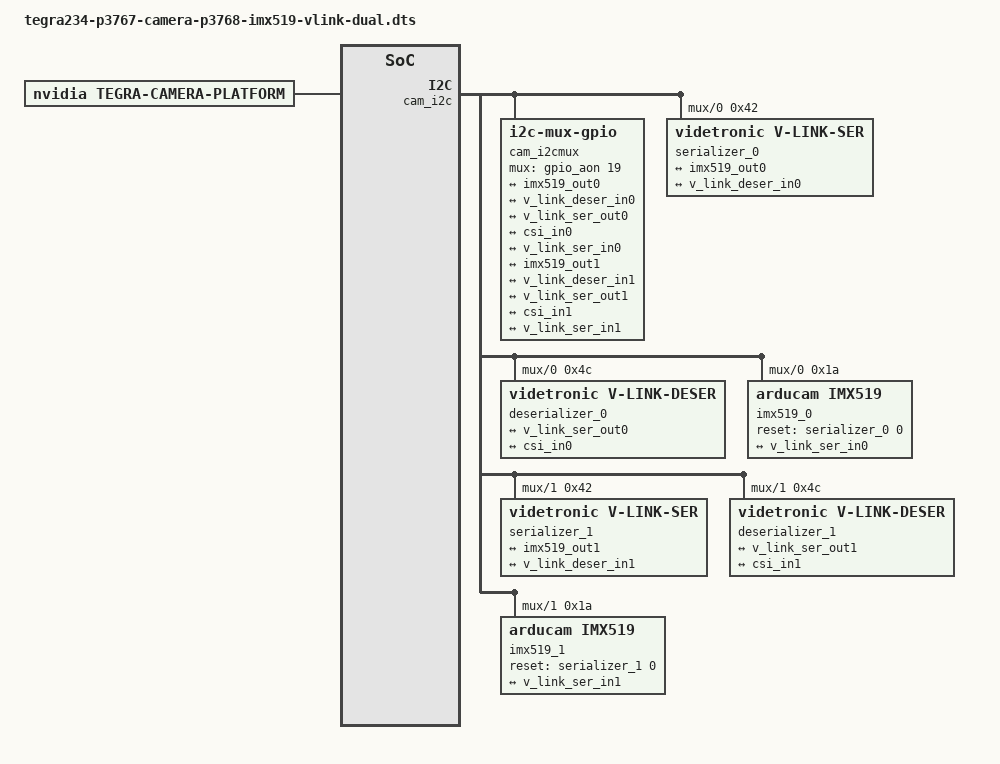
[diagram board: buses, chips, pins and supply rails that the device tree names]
/dts-v1/;
/plugin/;

/ {
	overlay-name = "Camera IMX519 Dual over v-link";
	jetson-header-name = "Jetson 24pin CSI Connector";
	compatible = "nvidia,p3768-0000+p3767-0000\0nvidia,p3768-0000+p3767-0001\0nvidia,p3768-0000+p3767-0003\0nvidia,p3768-0000+p3767-0004\0nvidia,p3768-0000+p3767-0005\0nvidia,p3768-0000+p3767-0000-super\0nvidia,p3768-0000+p3767-0001-super\0nvidia,p3768-0000+p3767-0003-super\0nvidia,p3768-0000+p3767-0004-super\0nvidia,p3768-0000+p3767-0005-super";

	fragment@0 {
		target-path = "/";
		__overlay__ {
			tegra-capture-vi {
				num-channels = <2>;
				ports {
					#address-cells = <1>;
					#size-cells = <0>;
					port@0 {
						reg = <0>;
						vi_in0: endpoint {
							port-index = <1>;
							bus-width = <2>;
							remote-endpoint = <&csi_out0>;
						};
					};
					port@1 {
						reg = <1>;
						vi_in1: endpoint {
							port-index = <2>;
							bus-width = <2>;
							remote-endpoint = <&csi_out1>;
						};
					};
				};
			};
			tegra-camera-platform {
				compatible = "nvidia, tegra-camera-platform";
				num_csi_lanes = <4>;
				max_lane_speed = <1500000>;
				min_bits_per_pixel = <10>;
				vi_peak_byte_per_pixel = <2>;
				vi_bw_margin_pct = <25>;
				max_pixel_rate = <7500000>;
				isp_peak_byte_per_pixel = <5>;
				isp_bw_margin_pct = <25>;

				modules {
					module0 {
						badge = "cam0_imx519";
						position = "rear";
						orientation = "1";

						drivernode0 {
							pcl_id = "v4l2_sensor";
							sysfs-device-tree = "/sys/firmware/devicetree/base/bus@0/cam_i2cmux/i2c@0/imx519_0@1a";
						};
					};
					module1 {
						badge = "cam1_imx519";
						position = "front";
						orientation = "1";

						drivernode0 {
							pcl_id = "v4l2_sensor";
							sysfs-device-tree = "/sys/firmware/devicetree/base/bus@0/cam_i2cmux/i2c@1/imx519_1@1a";
						};
					};
				};
			};
			bus@0 {
				host1x@13e00000 {
					nvcsi@15a00000 {
						num-channels = <2>;
						#address-cells = <1>;
						#size-cells = <0>;
						channel@0 {
							reg = <0>;
							ports {
								#address-cells = <1>;
								#size-cells = <0>;
								port@0 {
									reg = <0>;
									csi_in0: endpoint@0 {
										port-index = <1>;
										bus-width = <2>;
										remote-endpoint = <&v_link_deser_out0>;
									};
								};
								port@1 {
									reg = <1>;
									csi_out0: endpoint@1 {
										remote-endpoint = <&vi_in0>;
									};
								};
							};
						};
						channel@1 {
							reg = <1>;
							ports {
								#address-cells = <1>;
								#size-cells = <0>;
								port@0 {
									reg = <0>;
									csi_in1: endpoint@0 {
										port-index = <2>;
										bus-width = <2>;
										remote-endpoint = <&v_link_deser_out1>;
									};
								};
								port@1 {
									reg = <1>;
									csi_out1: endpoint@1 {
										remote-endpoint = <&vi_in1>;
									};
								};
							};
						};
					};
				};
				cam_i2cmux {
					status = "okay";
					compatible = "i2c-mux-gpio";
					#address-cells = <1>;
					#size-cells = <0>;
					mux-gpios = <&gpio_aon 19 0>;
					i2c-parent = <&cam_i2c>;

					/* CAM0 - CSI Port 1 (serial_b) - HAS lane_polarity */
					i2c@0 {
						status = "okay";
						reg = <0>;
						#address-cells = <1>;
						#size-cells = <0>;

						serializer_0: serializer@42 {
							status = "okay";
							compatible = "videtronic,v-link-ser";
							reg = <0x42>;
							gpio-controller;
							#gpio-cells = <2>;
							bus-width = <2>;

							ports {
								#address-cells = <1>;
								#size-cells = <0>;
								port@0 {
									reg = <0>;
									status = "okay";
									v_link_ser_in0: endpoint@0 {
										status = "okay";
										port-index = <0>;
										bus-width = <2>;
										remote-endpoint = <&imx519_out0>;
									};
								};
								port@1 {
									reg = <1>;
									status = "okay";
									v_link_ser_out0: endpoint@1 {
										status = "okay";
										port-index = <1>;
										remote-endpoint = <&v_link_deser_in0>;
									};
								};
							};
						};

						deserializer_0: deserializer@4c {
							status = "okay";
							compatible = "videtronic,v-link-deser";
							reg = <0x4c>;
							bus-width = <2>;
							link-freq = "800000000";
							ports {
								#address-cells = <1>;
								#size-cells = <0>;
								port@0 {
									reg = <0>;
									status = "okay";
									v_link_deser_in0: endpoint@0 {
										status = "okay";
										port-index = <0>;
										remote-endpoint = <&v_link_ser_out0>;
									};
								};
								port@1 {
									reg = <1>;
									status = "okay";
									v_link_deser_out0: endpoint@1 {
										status = "okay";
										port-index = <1>;
										bus-width = <2>;
										remote-endpoint = <&csi_in0>;
									};
								};
							};
						};

						imx519_0@1a {
							status = "okay";
							compatible = "arducam,imx519";
							reg = <0x1a>;
							devnode = "video0";
							physical_w = "3.680";
							physical_h = "2.760";
							sensor_model = "imx519";
							use_sensor_mode_id = "true";
							reset-gpios = <&serializer_0 0 0>;

							mode0 {
								mclk_khz = "24000";
								num_lanes = "2";
								tegra_sinterface = "serial_b";
								phy_mode = "DPHY";
								discontinuous_clk = "no";
								dpcm_enable = "false";
								cil_settletime = "0";
								lane_polarity = "6";
								active_w = "4656";
								active_h = "3496";
								mode_type = "bayer";
								pixel_phase = "rggb";
								csi_pixel_bit_depth = "10";
								readout_orientation = "90";
								line_length = "12650";
								inherent_gain = "1";
								mclk_multiplier = "80";
								pix_clk_hz = "300000000";
								gain_factor = "16";
								framerate_factor = "1000000";
								exposure_factor = "1000000";
								min_gain_val = "16";
								max_gain_val = "256";
								step_gain_val = "1";
								default_gain = "16";
								min_hdr_ratio = "1";
								max_hdr_ratio = "1";
								min_framerate = "2000000";
								max_framerate = "9000000";
								step_framerate = "1";
								default_framerate = "9000000";
								min_exp_time = "13";
								max_exp_time = "683709";
								step_exp_time = "1";
								default_exp_time = "2495";
								embedded_metadata_height = "2";
							};

							mode1 {
								mclk_khz = "24000";
								num_lanes = "2";
								tegra_sinterface = "serial_b";
								phy_mode = "DPHY";
								discontinuous_clk = "no";
								dpcm_enable = "false";
								cil_settletime = "0";
								lane_polarity = "6";
								active_w = "3840";
								active_h = "2160";
								mode_type = "bayer";
								pixel_phase = "rggb";
								csi_pixel_bit_depth = "10";
								readout_orientation = "90";
								line_length = "10486";
								inherent_gain = "1";
								mclk_multiplier = "80";
								pix_clk_hz = "300000000";
								gain_factor = "16";
								framerate_factor = "1000000";
								exposure_factor = "1000000";
								min_gain_val = "16";
								max_gain_val = "256";
								step_gain_val = "1";
								default_gain = "16";
								min_hdr_ratio = "1";
								max_hdr_ratio = "1";
								min_framerate = "2000000";
								max_framerate = "17000000";
								step_framerate = "1";
								default_framerate = "17000000";
								min_exp_time = "13";
								max_exp_time = "683709";
								step_exp_time = "1";
								default_exp_time = "2495";
								embedded_metadata_height = "2";
							};

							mode2 {
								mclk_khz = "24000";
								num_lanes = "2";
								tegra_sinterface = "serial_b";
								phy_mode = "DPHY";
								discontinuous_clk = "no";
								dpcm_enable = "false";
								cil_settletime = "0";
								lane_polarity = "6";
								active_w = "1920";
								active_h = "1080";
								mode_type = "bayer";
								pixel_phase = "rggb";
								csi_pixel_bit_depth = "10";
								readout_orientation = "90";
								line_length = "6027";
								inherent_gain = "1";
								mclk_multiplier = "80";
								pix_clk_hz = "300000000";
								gain_factor = "16";
								framerate_factor = "1000000";
								exposure_factor = "1000000";
								min_gain_val = "16";
								max_gain_val = "256";
								step_gain_val = "1";
								default_gain = "16";
								min_hdr_ratio = "1";
								max_hdr_ratio = "1";
								min_framerate = "2000000";
								max_framerate = "60000000";
								step_framerate = "1";
								default_framerate = "60000000";
								min_exp_time = "13";
								max_exp_time = "683709";
								step_exp_time = "1";
								default_exp_time = "2495";
								embedded_metadata_height = "2";
							};

							mode3 {
								mclk_khz = "24000";
								num_lanes = "2";
								tegra_sinterface = "serial_b";
								phy_mode = "DPHY";
								discontinuous_clk = "no";
								dpcm_enable = "false";
								cil_settletime = "0";
								lane_polarity = "6";
								active_w = "1280";
								active_h = "720";
								mode_type = "bayer";
								pixel_phase = "rggb";
								csi_pixel_bit_depth = "10";
								readout_orientation = "90";
								line_length = "4336";
								inherent_gain = "1";
								mclk_multiplier = "80";
								pix_clk_hz = "300000000";
								gain_factor = "16";
								framerate_factor = "1000000";
								exposure_factor = "1000000";
								min_gain_val = "16";
								max_gain_val = "256";
								step_gain_val = "1";
								default_gain = "16";
								min_hdr_ratio = "1";
								max_hdr_ratio = "1";
								min_framerate = "2000000";
								max_framerate = "120000000";
								step_framerate = "1";
								default_framerate = "120000000";
								min_exp_time = "13";
								max_exp_time = "683709";
								step_exp_time = "1";
								default_exp_time = "2495";
								embedded_metadata_height = "2";
							};

							ports {
								#address-cells = <1>;
								#size-cells = <0>;
								port@0 {
									reg = <0>;
									imx519_out0: endpoint {
										port-index = <1>;
										bus-width = <2>;
										remote-endpoint = <&v_link_ser_in0>;
									};
								};
							};
						};
					};

					/* CAM1 - CSI Port 2 (serial_c) - NO lane_polarity (per Videtronic spec) */
					i2c@1 {
						status = "okay";
						reg = <1>;
						#address-cells = <1>;
						#size-cells = <0>;

						serializer_1: serializer@42 {
							status = "okay";
							compatible = "videtronic,v-link-ser";
							reg = <0x42>;
							gpio-controller;
							#gpio-cells = <2>;
							bus-width = <2>;

							ports {
								#address-cells = <1>;
								#size-cells = <0>;
								port@0 {
									reg = <0>;
									status = "okay";
									v_link_ser_in1: endpoint@0 {
										status = "okay";
										port-index = <0>;
										bus-width = <2>;
										remote-endpoint = <&imx519_out1>;
									};
								};
								port@1 {
									reg = <1>;
									status = "okay";
									v_link_ser_out1: endpoint@1 {
										status = "okay";
										port-index = <1>;
										remote-endpoint = <&v_link_deser_in1>;
									};
								};
							};
						};

						deserializer_1: deserializer@4c {
							status = "okay";
							compatible = "videtronic,v-link-deser";
							reg = <0x4c>;
							bus-width = <2>;
							link-freq = "800000000";
							ports {
								#address-cells = <1>;
								#size-cells = <0>;
								port@0 {
									reg = <0>;
									status = "okay";
									v_link_deser_in1: endpoint@0 {
										status = "okay";
										port-index = <0>;
										remote-endpoint = <&v_link_ser_out1>;
									};
								};
								port@1 {
									reg = <1>;
									status = "okay";
									v_link_deser_out1: endpoint@1 {
										status = "okay";
										port-index = <1>;
										bus-width = <2>;
										remote-endpoint = <&csi_in1>;
									};
								};
							};
						};

						imx519_1@1a {
							status = "okay";
							compatible = "arducam,imx519";
							reg = <0x1a>;
							devnode = "video1";
							physical_w = "3.680";
							physical_h = "2.760";
							sensor_model = "imx519";
							use_sensor_mode_id = "true";
							reset-gpios = <&serializer_1 0 0>;

							/* CAM1 modes - NO lane_polarity for serial_c */
							mode0 {
								mclk_khz = "24000";
								num_lanes = "2";
								tegra_sinterface = "serial_c";
								phy_mode = "DPHY";
								discontinuous_clk = "no";
								dpcm_enable = "false";
								cil_settletime = "0";
								active_w = "4656";
								active_h = "3496";
								mode_type = "bayer";
								pixel_phase = "rggb";
								csi_pixel_bit_depth = "10";
								readout_orientation = "90";
								line_length = "12650";
								inherent_gain = "1";
								mclk_multiplier = "80";
								pix_clk_hz = "300000000";
								gain_factor = "16";
								framerate_factor = "1000000";
								exposure_factor = "1000000";
								min_gain_val = "16";
								max_gain_val = "256";
								step_gain_val = "1";
								default_gain = "16";
								min_hdr_ratio = "1";
								max_hdr_ratio = "1";
								min_framerate = "2000000";
								max_framerate = "9000000";
								step_framerate = "1";
								default_framerate = "9000000";
								min_exp_time = "13";
								max_exp_time = "683709";
								step_exp_time = "1";
								default_exp_time = "2495";
								embedded_metadata_height = "2";
							};

							mode1 {
								mclk_khz = "24000";
								num_lanes = "2";
								tegra_sinterface = "serial_c";
								phy_mode = "DPHY";
								discontinuous_clk = "no";
								dpcm_enable = "false";
								cil_settletime = "0";
								active_w = "3840";
								active_h = "2160";
								mode_type = "bayer";
								pixel_phase = "rggb";
								csi_pixel_bit_depth = "10";
								readout_orientation = "90";
								line_length = "10486";
								inherent_gain = "1";
								mclk_multiplier = "80";
								pix_clk_hz = "300000000";
								gain_factor = "16";
								framerate_factor = "1000000";
								exposure_factor = "1000000";
								min_gain_val = "16";
								max_gain_val = "256";
								step_gain_val = "1";
								default_gain = "16";
								min_hdr_ratio = "1";
								max_hdr_ratio = "1";
								min_framerate = "2000000";
								max_framerate = "17000000";
								step_framerate = "1";
								default_framerate = "17000000";
								min_exp_time = "13";
								max_exp_time = "683709";
								step_exp_time = "1";
								default_exp_time = "2495";
								embedded_metadata_height = "2";
							};

							mode2 {
								mclk_khz = "24000";
								num_lanes = "2";
								tegra_sinterface = "serial_c";
								phy_mode = "DPHY";
								discontinuous_clk = "no";
								dpcm_enable = "false";
								cil_settletime = "0";
								active_w = "1920";
								active_h = "1080";
								mode_type = "bayer";
								pixel_phase = "rggb";
								csi_pixel_bit_depth = "10";
								readout_orientation = "90";
								line_length = "6027";
								inherent_gain = "1";
								mclk_multiplier = "80";
								pix_clk_hz = "300000000";
								gain_factor = "16";
								framerate_factor = "1000000";
								exposure_factor = "1000000";
								min_gain_val = "16";
								max_gain_val = "256";
								step_gain_val = "1";
								default_gain = "16";
								min_hdr_ratio = "1";
								max_hdr_ratio = "1";
								min_framerate = "2000000";
								max_framerate = "60000000";
								step_framerate = "1";
								default_framerate = "60000000";
								min_exp_time = "13";
								max_exp_time = "683709";
								step_exp_time = "1";
								default_exp_time = "2495";
								embedded_metadata_height = "2";
							};

							mode3 {
								mclk_khz = "24000";
								num_lanes = "2";
								tegra_sinterface = "serial_c";
								phy_mode = "DPHY";
								discontinuous_clk = "no";
								dpcm_enable = "false";
								cil_settletime = "0";
								active_w = "1280";
								active_h = "720";
								mode_type = "bayer";
								pixel_phase = "rggb";
								csi_pixel_bit_depth = "10";
								readout_orientation = "90";
								line_length = "4336";
								inherent_gain = "1";
								mclk_multiplier = "80";
								pix_clk_hz = "300000000";
								gain_factor = "16";
								framerate_factor = "1000000";
								exposure_factor = "1000000";
								min_gain_val = "16";
								max_gain_val = "256";
								step_gain_val = "1";
								default_gain = "16";
								min_hdr_ratio = "1";
								max_hdr_ratio = "1";
								min_framerate = "2000000";
								max_framerate = "120000000";
								step_framerate = "1";
								default_framerate = "120000000";
								min_exp_time = "13";
								max_exp_time = "683709";
								step_exp_time = "1";
								default_exp_time = "2495";
								embedded_metadata_height = "2";
							};

							ports {
								#address-cells = <1>;
								#size-cells = <0>;
								port@0 {
									reg = <0>;
									imx519_out1: endpoint {
										port-index = <2>;
										bus-width = <2>;
										remote-endpoint = <&v_link_ser_in1>;
									};
								};
							};
						};
					};
				};
			};
		};
	};
};
